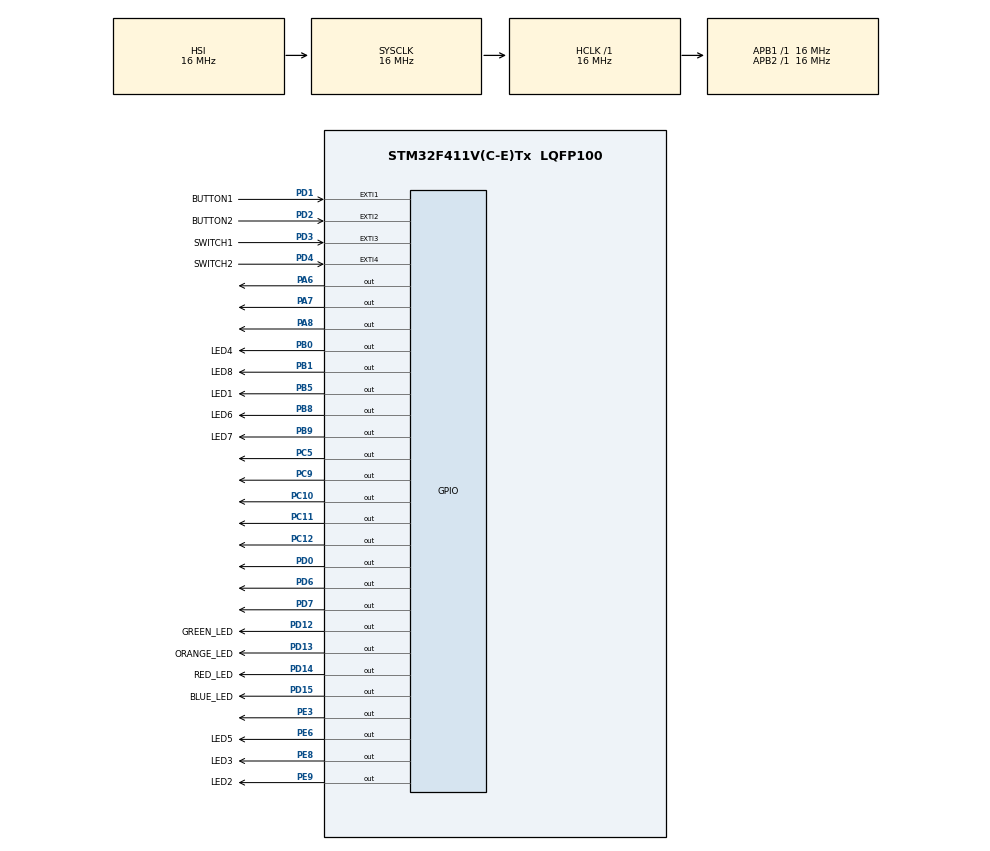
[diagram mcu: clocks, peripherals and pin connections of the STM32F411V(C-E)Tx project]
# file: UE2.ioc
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Mcu.Family=STM32F4
Mcu.Name=STM32F411V(C-E)Tx
Mcu.Package=LQFP100
NVIC.EXTI1_IRQn=true\:0\:0\:false\:false\:true\:true\:true\:true
NVIC.EXTI2_IRQn=true\:0\:0\:false\:false\:true\:true\:true\:true
NVIC.EXTI3_IRQn=true\:0\:0\:false\:false\:true\:true\:true\:true
NVIC.EXTI4_IRQn=true\:0\:0\:false\:false\:true\:true\:true\:true
NVIC.PriorityGroup=NVIC_PRIORITYGROUP_4
PA6.Signal=GPIO_Output
PA7.Signal=GPIO_Output
PA8.Signal=GPIO_Output
PB0.GPIO_Label=LED4
PB0.Signal=GPIO_Output
PB1.GPIO_Label=LED8
PB1.Signal=GPIO_Output
PB5.GPIO_Label=LED1
PB5.Signal=GPIO_Output
PB8.GPIO_Label=LED6
PB8.Signal=GPIO_Output
PB9.GPIO_Label=LED7
PB9.Signal=GPIO_Output
PC10.Signal=GPIO_Output
PC11.Signal=GPIO_Output
PC12.Signal=GPIO_Output
PC5.Signal=GPIO_Output
PC9.Signal=GPIO_Output
PD0.Signal=GPIO_Output
PD1.GPIO_Label=BUTTON1
PD1.Signal=GPXTI1
PD12.GPIO_Label=GREEN_LED
PD12.Signal=GPIO_Output
PD13.GPIO_Label=ORANGE_LED
PD13.Signal=GPIO_Output
PD14.GPIO_Label=RED_LED
PD14.Signal=GPIO_Output
PD15.GPIO_Label=BLUE_LED
PD15.Signal=GPIO_Output
PD2.GPIO_Label=BUTTON2
PD2.Signal=GPXTI2
PD3.GPIO_Label=SWITCH1
PD3.Signal=GPXTI3
PD4.GPIO_Label=SWITCH2
PD4.Signal=GPXTI4
PD6.Signal=GPIO_Output
PD7.Signal=GPIO_Output
PE3.Signal=GPIO_Output
PE6.GPIO_Label=LED5
PE6.Signal=GPIO_Output
PE8.GPIO_Label=LED3
PE8.Signal=GPIO_Output
PE9.GPIO_Label=LED2
PE9.Signal=GPIO_Output
ProjectManager.HeapSize=0x200
ProjectManager.StackSize=0x400
ProjectManager.TargetToolchain=CMake
RCC.AHBFreq_Value=16000000
RCC.APB1Freq_Value=16000000
RCC.APB2Freq_Value=16000000
RCC.CortexFreq_Value=16000000
RCC.HSE_VALUE=25000000
RCC.HSI_VALUE=16000000
RCC.LSE_VALUE=32768
RCC.SYSCLKFreq_VALUE=16000000
RCC.VCOOutputFreq_Value=192000000
board=custom

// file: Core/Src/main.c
/* USER CODE BEGIN Header */
/**
  ******************************************************************************
  * @file           : main.c
  * @brief          : Main program body
  ******************************************************************************
  * @attention
  *
  * Copyright (c) 2026 STMicroelectronics.
  * All rights reserved.
  *
  * This software is licensed under terms that can be found in the LICENSE file
  * in the root directory of this software component.
  * If no LICENSE file comes with this software, it is provided AS-IS.
  *
  ******************************************************************************
  */
/* USER CODE END Header */
#include "main.h"
#include "gpio.h"

/* USER CODE BEGIN Includes */
#include "SiebenSeg.h"
#include "stm32f4xx_hal.h"
/* USER CODE END Includes */

/* USER CODE BEGIN PTD */
typedef struct
{
  GPIO_TypeDef* Port;
  uint16_t      Pin;
} GPIO;
/* USER CODE END PTD */

/* USER CODE BEGIN PV */
static const uint16_t leds[] = {GREEN_LED_Pin, ORANGE_LED_Pin, RED_LED_Pin, BLUE_LED_Pin};
static const GPIO lightchaser[] = {
  {LED1_GPIO_Port, LED1_Pin},
  {LED2_GPIO_Port, LED2_Pin},
  {LED3_GPIO_Port, LED3_Pin},
  {LED4_GPIO_Port, LED4_Pin},
  {LED5_GPIO_Port, LED5_Pin},
  {LED6_GPIO_Port, LED6_Pin},
  {LED7_GPIO_Port, LED7_Pin},
  {LED8_GPIO_Port, LED8_Pin}
};
/* USER CODE END PV */

void SystemClock_Config(void);
/* USER CODE BEGIN PFP */
static void HelloMicroController(void);
static void runInCircles(void);
static void lightchaserTest(void);
/* USER CODE END PFP */

/* USER CODE BEGIN 0 */
static void HelloMicroController(void) {
  HAL_GPIO_TogglePin(GREEN_LED_GPIO_Port, GREEN_LED_Pin);
  HAL_Delay(500);
}

static void runInCircles(void) {
  static uint8_t led;
  static uint32_t previous_time;

  uint32_t current_time = HAL_GetTick();

  if (current_time - previous_time >= 500U) {
    HAL_GPIO_WritePin(GPIOD, GREEN_LED_Pin | RED_LED_Pin | BLUE_LED_Pin | ORANGE_LED_Pin,GPIO_PIN_RESET);
    HAL_GPIO_WritePin(GPIOD, leds[led], GPIO_PIN_SET);
    led = (led + 1U) % 4U;
    previous_time = current_time;
  }
}

static void lightchaserTest(void) {
  static uint16_t i;
  HAL_GPIO_TogglePin(lightchaser[i].Port, lightchaser[i].Pin);
  HAL_Delay(100);
  HAL_GPIO_TogglePin(lightchaser[i].Port, lightchaser[i].Pin);
  i++;
  if (i == 8) i = 0;
}

/* USER CODE END 0 */

int main(void)
{

  /* MCU Configuration--------------------------------------------------------*/

  /* Reset of all peripherals, Initializes the Flash interface and the Systick. */
  HAL_Init();

  /* Configure the system clock */
  SystemClock_Config();

  /* Initialize all configured peripherals */
  MX_GPIO_Init();
  /* USER CODE BEGIN 2 */
  Reset_7Seg();
  /* USER CODE END 2 */

  /* Infinite loop */
  while (1)
  {

    /* USER CODE BEGIN 3 */
    // HelloMicroController();
    //Write_7Seg(9999, 0);
    runInCircles();
    lightchaserTest();
  }
  /* USER CODE END 3 */
}

void SystemClock_Config(void)
{
  RCC_OscInitTypeDef RCC_OscInitStruct = {0};
  RCC_ClkInitTypeDef RCC_ClkInitStruct = {0};

  /** Configure the main internal regulator output voltage
  */
  __HAL_RCC_PWR_CLK_ENABLE();
  __HAL_PWR_VOLTAGESCALING_CONFIG(PWR_REGULATOR_VOLTAGE_SCALE1);

  /** Initializes the RCC Oscillators according to the specified parameters
  * in the RCC_OscInitTypeDef structure.
  */
  RCC_OscInitStruct.OscillatorType = RCC_OSCILLATORTYPE_HSI;
  RCC_OscInitStruct.HSIState = RCC_HSI_ON;
  RCC_OscInitStruct.HSICalibrationValue = RCC_HSICALIBRATION_DEFAULT;
  RCC_OscInitStruct.PLL.PLLState = RCC_PLL_NONE;
  if (HAL_RCC_OscConfig(&RCC_OscInitStruct) != HAL_OK)
  {
    Error_Handler();
  }

  /** Initializes the CPU, AHB and APB buses clocks
  */
  RCC_ClkInitStruct.ClockType = RCC_CLOCKTYPE_HCLK|RCC_CLOCKTYPE_SYSCLK
                              |RCC_CLOCKTYPE_PCLK1|RCC_CLOCKTYPE_PCLK2;
  RCC_ClkInitStruct.SYSCLKSource = RCC_SYSCLKSOURCE_HSI;
  RCC_ClkInitStruct.AHBCLKDivider = RCC_SYSCLK_DIV1;
  RCC_ClkInitStruct.APB1CLKDivider = RCC_HCLK_DIV1;
  RCC_ClkInitStruct.APB2CLKDivider = RCC_HCLK_DIV1;

  if (HAL_RCC_ClockConfig(&RCC_ClkInitStruct, FLASH_LATENCY_0) != HAL_OK)
  {
    Error_Handler();
  }
}

/* USER CODE BEGIN 4 */
void HAL_GPIO_EXTI_Callback(uint16_t GPIO_Pin) {
  switch (GPIO_Pin)
  {
  case BUTTON1_Pin :
    Write_7Seg(1, 4);
    break;
  case BUTTON2_Pin :
    Write_7Seg(2, 4);
    break;
  case SWITCH1_Pin :
    Write_7Seg(3, 4);
    break;
  case SWITCH2_Pin :
    Write_7Seg(4, 4);
    break;
  default:
    Write_7Seg(0, 4);
    break;
  }
}
/* USER CODE END 4 */

void Error_Handler(void)
{
  __disable_irq();
  while (1)
  {
  }
}
